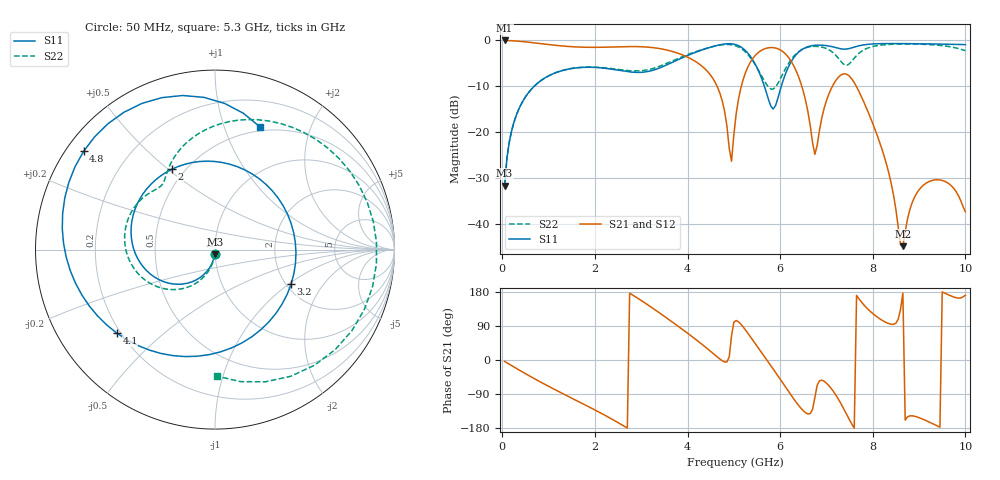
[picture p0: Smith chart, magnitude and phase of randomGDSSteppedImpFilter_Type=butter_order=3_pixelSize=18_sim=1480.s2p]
! freq	dB(S11)	phase(S11)	dB(S12)	phase(S12)
!  dB(S21)	phase(S21)	dB(S22)	phase(S22)
!S-par simulation data
#  GHz  S  DB  R 50
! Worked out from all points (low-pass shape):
!   200 points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, 50 MHz to 10 GHz, reference 50 ohm
!   highest |S21| = -0.01 dB at 50 MHz (marker M1); lowest = -44.8 dB at 8.65 GHz (marker M2)
!   |S21| within 3 dB of the highest: start of sweep to 3.853 GHz; 5.487 GHz to 6.12 GHz (632.8 MHz wide, 10.9 % of centre)
!   lowest |S11| = -31.6 dB at 50 MHz (marker M3), VSWR 1.05, Z = 49.8 - j2.62 ohm
!   |S11| at or under -10 dB: start of sweep to 687.5 MHz; 5.66 GHz to 6.025 GHz (364.6 MHz wide, 6.24 % of centre)
!   |S22| runs from -31.6 to -0.8 dB; largest |S21 - S12| = 0
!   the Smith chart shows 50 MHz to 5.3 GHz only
!   S11 on the Smith chart (normalised r, x): 50 MHz: 1.00, -0.05; 2 GHz: 0.43, +0.52; 3.2 GHz: 2.13, -1.04; 4.1 GHz: 0.19, -0.36; 4.8 GHz: 0.05, +0.33; 5.3 GHz: 0.45, +1.32
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0.05  -31.57 -93.9  -0.01 -3.7  -0.01 -3.7  -31.57 -93.4
0.5  -12.30 -129.5  -0.32 -36.1  -0.32 -36.1  -12.29 -123.6
1.75  -5.87 138.5  -1.48 -116.1  -1.48 -116.1  -5.83 168.6
2  -5.88 118.1  -1.51 -131.8  -1.51 -131.8  -5.81 157.7
3.2  -6.64 -24.2  -1.51 140.7  -1.51 140.7  -6.26 124.8
3.4  -5.98 -53.2  -1.78 123.8  -1.78 123.8  -5.61 119.4
4.1  -2.87 -139.7  -4.16 61.6  -4.16 61.6  -2.72 80.1
4.8  -0.78 143.2  -15.40 -5.3  -15.40 -5.3  -0.91 2.7
4.95  -0.74 123.6  -26.29 63.8  -26.29 63.8  -0.95 -21.7
5.05  -0.94 109.3  -15.99 104.2  -15.99 104.2  -1.20 -39.8
5.3  -2.74 70.1  -5.85 71.2  -5.85 71.2  -3.04 -89.1
5.9  -14.19 -108.2  -1.66 -32.6  -1.66 -32.6  -10.14 -147.1
6.25  -4.43 149.7  -4.75 -95.3  -4.75 -95.3  -3.99 175.9
6.7  -1.13 79.6  -22.25 -130.2  -22.25 -130.2  -1.31 94.7
7.1  -1.31 36.6  -10.56 -74.7  -10.56 -74.7  -2.34 12.6
7.35  -1.89 18.6  -7.33 -123.6  -7.33 -123.6  -5.00 -79.1
7.55  -1.60 7.8  -8.43 -169.6  -8.43 -169.6  -4.48 179.3
7.8  -0.98 -10.0  -13.25 146.5  -13.25 146.5  -2.09 103.2
8.35  -0.69 -48.3  -29.02 95.9  -29.02 95.9  -0.87 26.8
8.65  -0.69 -66.6  -44.77 176.6  -44.77 176.6  -0.77 -1.1
9.2  -0.76 -97.1  -30.78 -162.7  -30.78 -162.7  -0.89 -47.7
10  -0.92 -137.8  -37.29 170.9  -37.29 170.9  -2.24 -138.9
